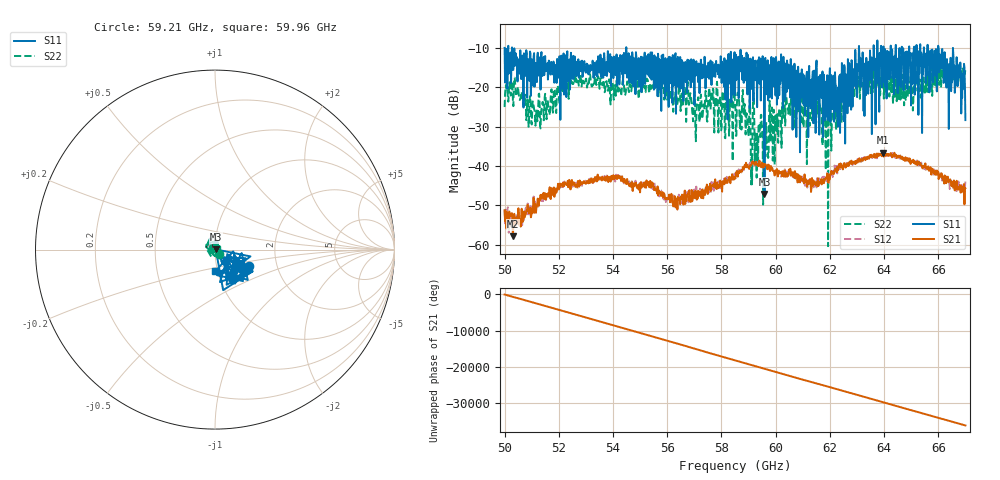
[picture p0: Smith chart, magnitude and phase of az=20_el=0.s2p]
!Created with skrf (http://scikit-rf.org).
# GHz S RI R 50.0
!freq ReS11 ImS11 ReS21 ImS21 ReS12 ImS12 ReS22 ImS22
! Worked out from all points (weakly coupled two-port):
!   1001 points, 50 GHz to 67 GHz, reference 50 ohm
!   highest |S21| = -36.61 dB at 63.97 GHz (marker M1); lowest = -57.9 dB at 50.31 GHz (marker M2)
!   lowest |S11| = -47.1 dB at 59.59 GHz (marker M3), VSWR 1.01, Z = 50.4 + j0.119 ohm
!   |S11| at or under -10 dB: 50.27 GHz to 54.49 GHz (4.215 GHz wide, 8.05 % of centre); 54.49 GHz to 63.07 GHz (8.583 GHz wide, 14.6 % of centre); 63.08 GHz to 63.62 GHz (538.8 MHz wide, 0.851 % of centre) (the widest 3 of 20)
!   |S22| runs from -60.4 to -13.9 dB; largest |S21 - S12| = 0.0023
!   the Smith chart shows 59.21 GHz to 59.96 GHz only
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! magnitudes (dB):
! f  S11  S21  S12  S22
! 50 GHz  -10.0  -51.2  -51.1  -25.0
! 50.31 GHz  -15.6  -57.9  -52.7  -23.3
! 51.16 GHz  -13.8  -51.9  -49.6  -27.6
! 52.84 GHz  -14.2  -44.1  -43.8  -19.8
! 55.68 GHz  -13.6  -46.8  -47.5  -22.3
! 57 GHz  -24.5  -46.5  -46.0  -21.1
! 57.62 GHz  -15.3  -45.4  -46.5  -22.5
! 58.5 GHz  -22.1  -43.1  -42.9  -23.8
! 59.59 GHz  -47.1  -39.9  -39.3  -30.7
! 60.64 GHz  -14.6  -42.6  -42.1  -22.2
! 61.34 GHz  -24.6  -43.0  -43.9  -25.6
! 62 GHz  -15.1  -42.6  -42.1  -24.9
! 62.04 GHz  -18.0  -42.0  -42.6  -30.6
! 62.53 GHz  -14.3  -39.3  -39.8  -19.1
! 63.01 GHz  -22.5  -38.5  -39.1  -19.8
! 63.33 GHz  -22.0  -37.8  -37.7  -19.3
! 63.97 GHz  -9.6  -36.6  -37.2  -18.4
! 64.18 GHz  -18.0  -37.1  -37.5  -18.7
! 66.08 GHz  -15.2  -42.7  -42.4  -15.6
! 66.42 GHz  -15.8  -43.5  -45.9  -16.3
! 66.75 GHz  -17.7  -46.0  -44.0  -18.4
! 67 GHz  -28.3  -45.6  -43.9  -15.7
